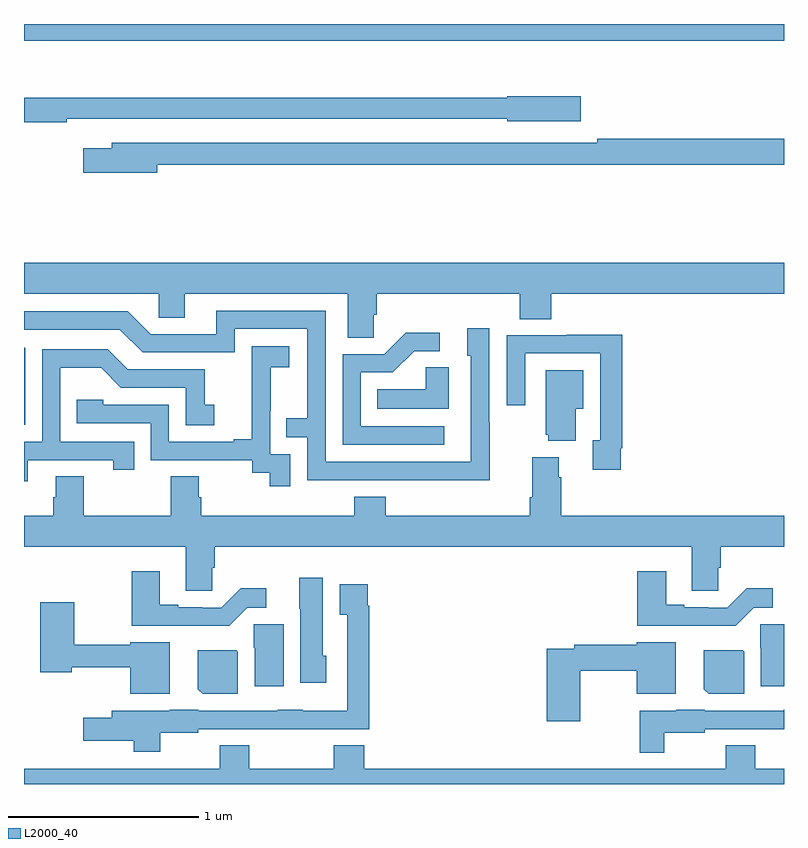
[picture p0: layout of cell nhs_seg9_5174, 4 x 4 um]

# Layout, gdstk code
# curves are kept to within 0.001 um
import gdstk
lib = gdstk.Library(unit=1e-6, precision=1e-09)
def R(c, l, rs):  # rectangles x0, y0, x1, y1
    for r in rs: c.add(gdstk.rectangle(r[:2], r[2:], *l))
def P(c, l, *ps):  # polygons
    for p in ps: c.add(gdstk.Polygon(p, *l))
L2000_40 = (2000, 40)

nhs_seg9_5174 = lib.new_cell('nhs_seg9_5174')
R(nhs_seg9_5174, L2000_40, [(411,1202.391,411.006,1202.797), (411,1204.412,415,1204.5)])
P(nhs_seg9_5174, L2000_40, [(411.224,1204.002),(413.544,1204.002),(413.544,1203.989),(413.929,1203.989),(413.929,1204.119),(413.544,1204.119),(413.544,1204.111),(411,1204.111),(411,1203.982),(411.224,1203.982)],
  [(411.7,1203.76),(415,1203.76),(415,1203.896),(414.016,1203.896),(414.016,1203.876),(411.461,1203.876),(411.461,1203.847),(411.312,1203.847),(411.312,1203.718),(411.7,1203.718)],
  [(412.842,1202.971),(412.856,1202.971),(412.856,1203.08),(413.609,1203.08),(413.609,1202.947),(413.774,1202.947),(413.774,1203.08),(415,1203.08),(415,1203.244),(411,1203.244),(411,1203.08),(411.708,1203.08),(411.708,1202.953),(411.847,1202.953),(411.847,1203.08),(412.703,1203.08),(412.703,1202.848),(412.842,1202.848)],
  [(413.451,1202.405),(413.448,1202.405),(413.448,1202.899),(413.333,1202.899),(413.333,1202.754),(413.352,1202.754),(413.352,1202.196),(412.587,1202.196),(412.587,1202.991),(412.013,1202.991),(412.013,1202.868),(411.666,1202.868),(411.546,1202.988),(411,1202.988),(411,1202.892),(411.504,1202.892),(411.624,1202.772),(412.11,1202.772),(412.11,1202.895),(412.491,1202.895),(412.491,1202.426),(412.381,1202.426),(412.381,1202.325),(412.491,1202.325),(412.491,1202.1),(413.451,1202.099)],
  [(413.212,1202.382),(412.773,1202.382),(412.773,1202.667),(412.942,1202.667),(413.053,1202.778),(413.188,1202.778),(413.188,1202.876),(413.009,1202.876),(412.896,1202.763),(412.677,1202.763),(412.677,1202.286),(413.212,1202.286)],
  [(414.142,1202.266),(414.149,1202.266),(414.149,1202.864),(413.857,1202.864),(413.857,1202.862),(413.541,1202.862),(413.541,1202.493),(413.637,1202.493),(413.637,1202.766),(414.033,1202.766),(414.033,1202.31),(413.993,1202.31),(413.993,1202.154),(414.142,1202.154)],
  [(412.401,1202.235),(412.296,1202.235),(412.296,1202.465),(412.298,1202.465),(412.298,1202.693),(412.396,1202.693),(412.396,1202.803),(412.198,1202.803),(412.198,1202.597),(412.199,1202.597),(412.199,1202.314),(412.103,1202.314),(412.103,1202.301),(411.762,1202.301),(411.762,1202.496),(411.417,1202.496),(411.417,1202.523),(411.277,1202.523),(411.277,1202.4),(411.666,1202.4),(411.666,1202.205),(412.2,1202.205),(412.2,1202.137),(412.293,1202.137),(412.293,1202.067),(412.401,1202.067)],
  [(411.019,1202.205),(411.47,1202.205),(411.47,1202.154),(411.581,1202.154),(411.581,1202.301),(411.192,1202.301),(411.192,1202.69),(411.406,1202.69),(411.51,1202.586),(411.852,1202.586),(411.852,1202.388),(412,1202.388),(412,1202.497),(411.951,1202.497),(411.951,1202.682),(411.547,1202.682),(411.442,1202.787),(411.096,1202.787),(411.096,1202.301),(411,1202.301),(411,1202.094),(411.019,1202.094)],
  [(413.236,1202.693),(413.115,1202.693),(413.115,1202.578),(412.858,1202.578),(412.858,1202.474),(413.236,1202.474)],
  [(413.905,1202.474),(413.944,1202.474),(413.944,1202.677),(413.747,1202.677),(413.747,1202.337),(413.759,1202.337),(413.759,1202.306),(413.905,1202.306)],
  [(411.99,1201.638),(412.004,1201.638),(412.004,1201.748),(414.515,1201.748),(414.515,1201.516),(414.654,1201.516),(414.654,1201.638),(414.668,1201.638),(414.668,1201.748),(415,1201.748),(415,1201.912),(413.828,1201.912),(413.828,1202.114),(413.815,1202.114),(413.815,1202.221),(413.675,1202.221),(413.675,1202.008),(413.663,1202.008),(413.663,1201.912),(412.904,1201.912),(412.904,1202.011),(412.739,1202.011),(412.739,1201.912),(411.932,1201.912),(411.932,1202.01),(411.919,1202.01),(411.919,1202.12),(411.772,1202.12),(411.772,1201.912),(411.315,1201.912),(411.315,1202.12),(411.167,1202.12),(411.167,1202.01),(411.155,1202.01),(411.155,1201.912),(411,1201.912),(411,1201.748),(411.851,1201.748),(411.851,1201.516),(411.99,1201.516)],
  [(412.176,1201.428),(412.276,1201.428),(412.276,1201.531),(412.141,1201.531),(412.038,1201.428),(411.938,1201.428),(411.938,1201.431),(411.811,1201.431),(411.811,1201.444),(411.715,1201.444),(411.715,1201.621),(411.568,1201.621),(411.568,1201.334),(412.081,1201.334)],
  [(414.84,1201.428),(414.94,1201.428),(414.94,1201.531),(414.805,1201.531),(414.702,1201.428),(414.602,1201.428),(414.602,1201.431),(414.475,1201.431),(414.475,1201.444),(414.379,1201.444),(414.379,1201.621),(414.227,1201.621),(414.227,1201.334),(414.745,1201.334)],
  [(412.591,1201.176),(412.573,1201.176),(412.573,1201.585),(412.448,1201.585),(412.448,1201.422),(412.454,1201.422),(412.454,1201.032),(412.591,1201.032)],
  [(411.718,1200.77),(411.918,1200.77),(411.918,1200.789),(412.335,1200.789),(412.335,1200.788),(412.567,1200.788),(412.567,1200.789),(412.817,1200.789),(412.817,1201.439),(412.81,1201.439),(412.81,1201.552),(412.661,1201.552),(412.661,1201.391),(412.701,1201.391),(412.701,1200.886),(412.467,1200.886),(412.467,1200.892),(412.335,1200.892),(412.335,1200.885),(411.918,1200.885),(411.918,1200.892),(411.768,1200.892),(411.768,1200.886),(411.461,1200.886),(411.461,1200.85),(411.312,1200.85),(411.312,1200.728),(411.577,1200.728),(411.577,1200.671),(411.718,1200.671)],
  [(411.766,1201.246),(411.56,1201.246),(411.56,1201.232),(411.264,1201.232),(411.264,1201.456),(411.086,1201.456),(411.086,1201.088),(411.252,1201.088),(411.252,1201.114),(411.56,1201.114),(411.56,1200.974),(411.766,1200.974)],
  [(415,1201.341),(414.874,1201.341),(414.874,1201.218),(414.878,1201.218),(414.878,1201.014),(415,1201.014)],
  [(412.366,1201.341),(412.21,1201.341),(412.21,1201.218),(412.214,1201.218),(412.214,1201.014),(412.366,1201.014)],
  [(413.928,1201.096),(414.224,1201.096),(414.224,1200.974),(414.43,1200.974),(414.43,1201.246),(414.224,1201.246),(414.224,1201.232),(413.896,1201.232),(413.896,1201.212),(413.75,1201.212),(413.75,1200.831),(413.928,1200.831)],
  [(412.126,1201.196),(412.118,1201.204),(411.914,1201.204),(411.914,1201),(411.94,1200.974),(412.126,1200.974)],
  [(414.79,1201.196),(414.782,1201.204),(414.578,1201.204),(414.578,1201),(414.604,1200.974),(414.79,1200.974)],
  [(414.37,1200.77),(414.582,1200.77),(414.582,1200.789),(414.999,1200.789),(414.999,1200.788),(415,1200.788),(415,1200.892),(414.999,1200.892),(414.999,1200.885),(414.582,1200.885),(414.582,1200.892),(414.432,1200.892),(414.432,1200.886),(414.241,1200.886),(414.241,1200.665),(414.37,1200.665)],
  [(415,1200.58),(414.849,1200.58),(414.849,1200.704),(414.694,1200.704),(414.694,1200.58),(412.79,1200.58),(412.79,1200.704),(412.63,1200.704),(412.63,1200.58),(412.185,1200.58),(412.185,1200.704),(412.03,1200.704),(412.03,1200.58),(411,1200.58),(411,1200.5),(415,1200.5)])

lib.write_gds('nhs_seg9_5174.gds')
